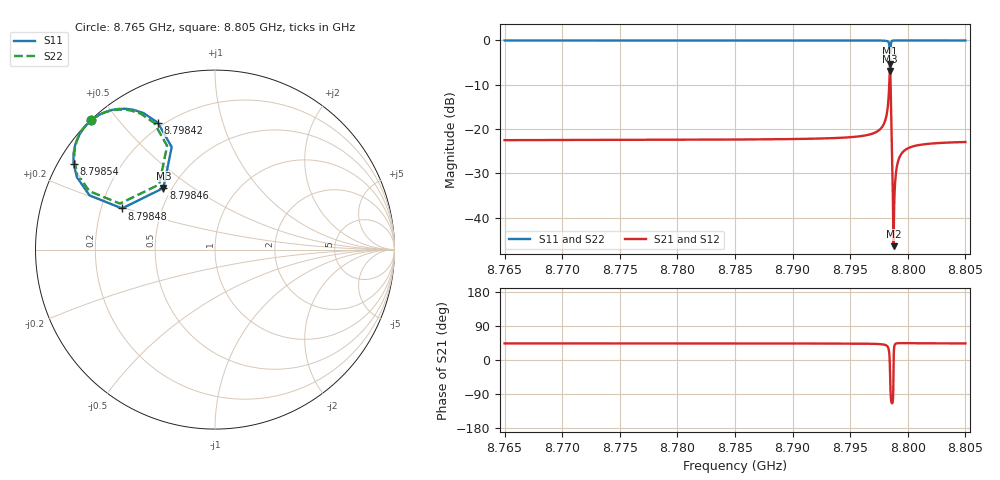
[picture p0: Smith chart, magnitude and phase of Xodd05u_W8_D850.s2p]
! Sonnet Data File
! From: emgraph Version : 16.52
! From Project: Qubit_Xmon2_brg_para2
! Data is De-embedded
! Data File Written: 11/12/2017 21:29:59
!< HDATE 11/12/2017 19:10:47
!< MDATE 11/12/2017 19:10:47
!< PARAMS
!< Lj = 11.0
!< Gap = 6.0
!< Pwid = 2000.0
!< Airgap = 6.0
!< Width = 10.0
!< Bwid = 8.0
!< Dis1 = 850.0
!< Dis2 = 856.0
!< END PARAMS
# GHZ S MA R 34.65000
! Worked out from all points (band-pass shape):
!   2001 points, 8.765 GHz to 8.805 GHz, reference 34.65 ohm
!   highest |S21| = -5.28 dB at 8.79846 GHz (marker M1); lowest = -46.4 dB at 8.79876 GHz (marker M2)
!   |S21| within 3 dB of the highest: 8.798412 GHz to 8.798495 GHz (83.22 kHz wide, 0.000946 % of centre)
!   lowest |S11| = -7.0 dB at 8.79846 GHz (marker M3), VSWR 2.62, Z = 15.6 + j13.4 ohm
!   |S11| at or under -10 dB: nowhere
!   |S22| runs from -6.4 to 0.0 dB; largest |S21 - S12| = 0
!   S11 on the Smith chart (normalised r, x): 8.765 GHz: 0.00, +0.43; 8.79842 GHz: 0.18, +0.63; 8.79846 GHz: 0.45, +0.39; 8.79848 GHz: 0.29, +0.19; 8.79854 GHz: 0.04, +0.28; 8.805 GHz: 0.00, +0.43
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8.765  0.9972 133.8  0.07483 43.8  0.07483 43.8  0.9972 133.8
!< P1 F=8.765 Eeff=(5.13709823 -5.6953e-5) Z0=(34.64455 -9.67e-5) R=0.0 C=0.0
!< P2 F=8.765 Eeff=(5.13709823 -5.6953e-5) Z0=(34.64455 -9.67e-5) R=0.0 C=0.0
8.77168  0.9972 133.8  0.07507 43.7  0.07507 43.7  0.9972 133.8
8.77834  0.9971 133.7  0.0754 43.7  0.0754 43.7  0.9971 133.7
8.785  0.9971 133.6  0.07601 43.6  0.07601 43.6  0.9971 133.6
8.79168  0.997 133.5  0.07766 43.5  0.07766 43.5  0.997 133.5
8.79558  0.9966 133.2  0.08201 43.2  0.08201 43.2  0.9966 133.2
8.79728  0.9954 132.6  0.09276 42.4  0.09276 42.4  0.9954 132.6
8.798  0.9908 130.9  0.1207 40.1  0.1207 40.1  0.9909 131.1
8.79822  0.9802 128.5  0.1609 36.3  0.1609 36.3  0.9805 128.8
8.79834  0.9468 124.1  0.2361 28.4  0.2361 28.4  0.9482 124.6
8.79842  0.7754 114.2  0.4149 5.0  0.4149 5.0  0.7835 115.7
8.79846  0.4475 129.9  0.5446 -35.6  0.5446 -35.6  0.4778 130.6
8.79848  0.5664 156.1  0.4798 -62.9  0.4798 -62.9  0.588 154.2
8.79854  0.9218 148.7  0.1896 -103.2  0.1896 -103.2  0.9253 147.8
8.79868  0.991 139.5  0.02653 -112.0  0.02653 -112.0  0.9914 139.2
8.79876  0.9953 138.0  0.004759 -25.2  0.004759 -25.2  0.9956 137.7
8.79888  0.9974 136.7  0.02249 40.7  0.02249 40.7  0.9975 136.6
8.79894  0.9978 136.3  0.02899 42.8  0.02899 42.8  0.9979 136.2
8.79904  0.9981 135.9  0.03686 43.9  0.03686 43.9  0.9981 135.8
8.7992  0.9982 135.4  0.04505 44.4  0.04505 44.4  0.9983 135.3
8.79994  0.998 134.5  0.05986 44.3  0.05986 44.3  0.998 134.5
8.805  0.9974 133.8  0.0713 43.8  0.0713 43.8  0.9974 133.8
